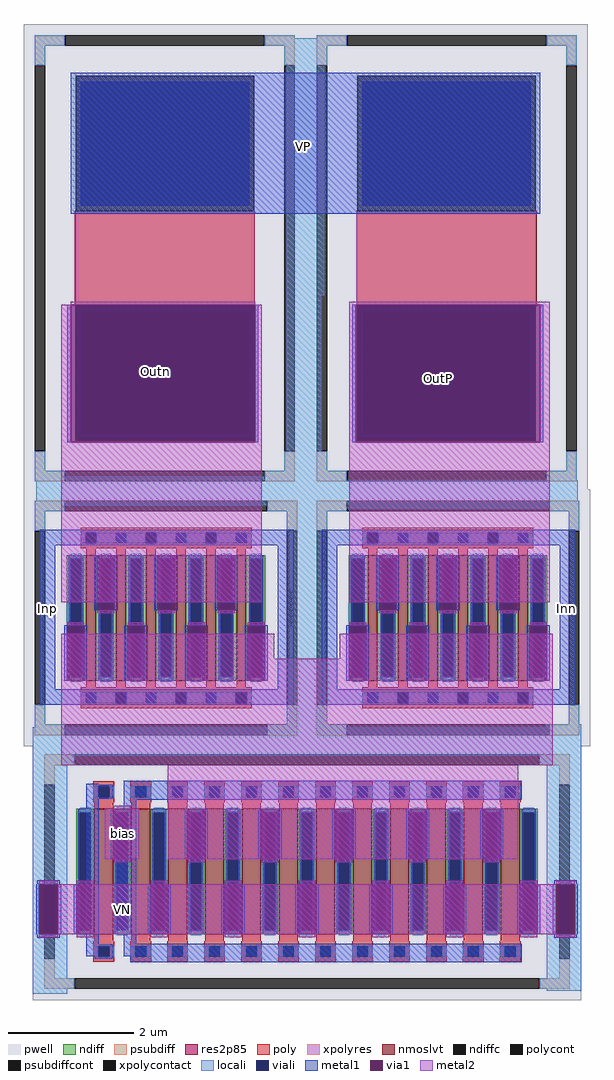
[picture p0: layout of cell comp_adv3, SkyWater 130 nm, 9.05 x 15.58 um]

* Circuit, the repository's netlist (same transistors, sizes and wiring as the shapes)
* expanding   symbol:  comp/comp_adv3.sym # of pins=7
** sym_path: /home/simon/code/particle_detector/xschem/comp/comp_adv3.sym
** sch_path: /home/simon/code/particle_detector/xschem/comp/comp_adv3.sch
.subckt comp_adv3  VP OutP OutN Inn Inp bias VN
*.ipin Inp
*.ipin bias
*.ipin Inn
*.iopin VP
*.iopin VN
*.opin OutN
*.opin OutP
XM1 OutN Inp VIq VN sky130_fd_pr__nfet_01v8_lvt L=0.15 W=2 nf=1 ad='int((nf+1)/2) * W/nf * 0.29' as='int((nf+2)/2) * W/nf * 0.29'
+ pd='2*int((nf+1)/2) * (W/nf + 0.29)' ps='2*int((nf+2)/2) * (W/nf + 0.29)' nrd='0.29 / W' nrs='0.29 / W'
+ sa=0 sb=0 sd=0 mult=6 m=6
XM2 OutP Inn VIq VN sky130_fd_pr__nfet_01v8_lvt L=0.15 W=2 nf=1 ad='int((nf+1)/2) * W/nf * 0.29' as='int((nf+2)/2) * W/nf * 0.29'
+ pd='2*int((nf+1)/2) * (W/nf + 0.29)' ps='2*int((nf+2)/2) * (W/nf + 0.29)' nrd='0.29 / W' nrs='0.29 / W'
+ sa=0 sb=0 sd=0 mult=6 m=6
XM7 bias bias VN VN sky130_fd_pr__nfet_01v8_lvt L=0.3 W=2 nf=1 ad='int((nf+1)/2) * W/nf * 0.29' as='int((nf+2)/2) * W/nf * 0.29'
+ pd='2*int((nf+1)/2) * (W/nf + 0.29)' ps='2*int((nf+2)/2) * (W/nf + 0.29)' nrd='0.29 / W' nrs='0.29 / W'
+ sa=0 sb=0 sd=0 mult=1 m=1
XM9 VIq bias VN VN sky130_fd_pr__nfet_01v8_lvt L=0.3 W=2 nf=1 ad='int((nf+1)/2) * W/nf * 0.29' as='int((nf+2)/2) * W/nf * 0.29'
+ pd='2*int((nf+1)/2) * (W/nf + 0.29)' ps='2*int((nf+2)/2) * (W/nf + 0.29)' nrd='0.29 / W' nrs='0.29 / W'
+ sa=0 sb=0 sd=0 mult=10 m=10
XR1 OutN VP VN sky130_fd_pr__res_xhigh_po_2p85 L=1.5 mult=1 m=1
XR2 OutP VP VN sky130_fd_pr__res_xhigh_po_2p85 L=1.5 mult=1 m=1
XM3 bias VN VN VN sky130_fd_pr__nfet_01v8_lvt L=0.3 W=2 nf=1 ad='int((nf+1)/2) * W/nf * 0.29' as='int((nf+2)/2) * W/nf * 0.29'
+ pd='2*int((nf+1)/2) * (W/nf + 0.29)' ps='2*int((nf+2)/2) * (W/nf + 0.29)' nrd='0.29 / W' nrs='0.29 / W'
+ sa=0 sb=0 sd=0 mult=1 m=1
.ends

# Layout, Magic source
magic
tech sky130A
magscale 1 2
<< locali >>
rect 1440 1340 1560 2160
rect 640 750 1410 760
rect 1440 750 1550 1340
rect 640 670 2370 750
rect 1450 660 2370 670
rect 1450 430 1550 660
rect 1450 400 1560 430
rect 1460 280 1560 400
rect 1450 20 1560 280
rect 1450 -40 1550 20
rect 2270 -40 2380 -30
rect 630 -130 2380 -40
rect 630 -540 740 -130
rect 630 -700 650 -540
rect 710 -700 740 -540
rect 630 -890 740 -700
rect 2270 -540 2380 -130
rect 2270 -700 2300 -540
rect 2360 -700 2380 -540
rect 2270 -880 2380 -700
<< viali >>
rect 650 -700 710 -540
rect 2300 -700 2360 -540
<< metal1 >>
rect 750 1600 2250 2050
rect 740 870 750 1310
rect 1340 870 1350 1310
rect 1650 870 1660 1310
rect 2250 870 2260 1310
rect 644 -540 716 -528
rect 640 -700 650 -540
rect 710 -700 720 -540
rect 644 -712 716 -700
rect 800 -770 840 -220
rect 920 -270 2190 -210
rect 920 -300 960 -270
rect 900 -700 960 -300
rect 2294 -540 2366 -528
rect 2290 -700 2300 -540
rect 2360 -700 2370 -540
rect 920 -730 960 -700
rect 2294 -712 2366 -700
rect 920 -770 2190 -730
rect 940 -790 2190 -770
<< via1 >>
rect 750 870 1340 1310
rect 1660 870 2250 1310
rect 650 -700 710 -540
rect 2300 -700 2360 -540
<< metal2 >>
rect 750 1310 1340 1320
rect 1640 1310 2280 1320
rect 720 870 750 1310
rect 1340 870 1360 1310
rect 720 360 1360 870
rect 1640 870 1660 1310
rect 2250 870 2280 1310
rect 1640 360 2280 870
rect 720 180 1400 260
rect 1610 180 2290 260
rect 720 -160 2290 180
rect 860 -460 970 -300
rect 1060 -460 2180 -160
rect 650 -540 710 -530
rect 2300 -540 2360 -530
rect 710 -700 2300 -540
rect 650 -710 710 -700
rect 2300 -710 2360 -700
use currm_comp  currm_comp_0
transform 1 0 710 0 1 -870
box -80 -40 1670 780
use diffamp_element_nodi  diffamp_element_nodi_0
transform 1 0 792 0 1 -308
box 708 208 1618 1028
use diffamp_element_nodi  diffamp_element_nodi_1
transform 1 0 -108 0 1 -308
box 708 208 1618 1028
use sky130_fd_pr__res_xhigh_po_2p85_8K9944  sky130_fd_pr__res_xhigh_po_2p85_8K9944_0
transform 1 0 1951 0 1 1458
box -451 -748 451 748
use sky130_fd_pr__res_xhigh_po_2p85_8K9944  sky130_fd_pr__res_xhigh_po_2p85_8K9944_1
transform 1 0 1051 0 1 1458
box -451 -748 451 748
<< labels >>
rlabel via1 970 1010 1070 1180 1 Outn
rlabel metal2 860 -460 970 -300 1 bias
rlabel metal2 860 -700 970 -540 1 VN
rlabel space 650 270 700 410 1 Inp
rlabel space 2310 270 2360 410 1 Inn
rlabel via1 1800 970 2050 1180 1 OutP
rlabel metal1 1390 1690 1600 1940 1 VP
<< end >>

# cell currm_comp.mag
magic
tech sky130A
magscale 1 2
<< metal1 >>
rect 168 410 178 570
rect 232 410 242 570
rect 404 410 414 570
rect 468 410 478 570
rect 640 410 650 570
rect 704 410 714 570
rect 876 410 886 570
rect 940 410 950 570
rect 1112 410 1122 570
rect 1176 410 1186 570
rect 1348 410 1358 570
rect 1412 410 1422 570
rect 50 170 60 330
rect 114 170 124 330
rect 286 170 296 330
rect 350 170 360 330
rect 522 170 532 330
rect 586 170 596 330
rect 758 170 768 330
rect 822 170 832 330
rect 994 170 1004 330
rect 1058 170 1068 330
rect 1230 170 1240 330
rect 1294 170 1304 330
rect 1466 170 1476 330
rect 1530 170 1540 330
<< via1 >>
rect 178 410 232 570
rect 414 410 468 570
rect 650 410 704 570
rect 886 410 940 570
rect 1122 410 1176 570
rect 1358 410 1412 570
rect 60 170 114 330
rect 296 170 350 330
rect 532 170 586 330
rect 768 170 822 330
rect 1004 170 1058 330
rect 1240 170 1294 330
rect 1476 170 1530 330
<< metal2 >>
rect 178 570 232 580
rect 178 400 232 410
rect 414 570 468 580
rect 414 400 468 410
rect 650 570 704 580
rect 650 400 704 410
rect 886 570 940 580
rect 886 400 940 410
rect 1122 570 1176 580
rect 1122 400 1176 410
rect 1358 570 1412 580
rect 1358 400 1412 410
rect 60 330 114 340
rect 60 160 114 170
rect 296 330 350 340
rect 296 160 350 170
rect 532 330 586 340
rect 532 160 586 170
rect 768 330 822 340
rect 768 160 822 170
rect 1004 330 1058 340
rect 1004 160 1058 170
rect 1240 330 1294 340
rect 1240 160 1294 170
rect 1476 330 1530 340
rect 1476 160 1530 170
use sky130_fd_pr__nfet_01v8_lvt_HR8DH9  sky130_fd_pr__nfet_01v8_lvt_HR8DH9_0
transform 1 0 795 0 1 370
box -875 -410 875 410
<< end >>

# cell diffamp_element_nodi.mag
magic
tech sky130A
magscale 1 2
<< pwell >>
rect 890 900 1436 906
rect 890 850 1480 900
rect 890 840 1436 850
rect 890 390 1436 396
rect 890 340 1474 390
rect 890 330 1436 340
<< poly >>
rect 890 890 1436 906
rect 890 856 906 890
rect 940 856 1098 890
rect 1132 856 1290 890
rect 1324 856 1436 890
rect 890 840 1436 856
rect 890 380 1436 396
rect 890 346 1002 380
rect 1036 346 1194 380
rect 1228 346 1386 380
rect 1420 346 1436 380
rect 890 330 1436 346
<< polycont >>
rect 906 856 940 890
rect 1098 856 1132 890
rect 1290 856 1324 890
rect 1002 346 1036 380
rect 1194 346 1228 380
rect 1386 346 1420 380
<< locali >>
rect 890 856 906 890
rect 940 856 1098 890
rect 1132 856 1290 890
rect 1324 856 1436 890
rect 890 346 1002 380
rect 1036 346 1194 380
rect 1228 346 1386 380
rect 1420 346 1436 380
<< viali >>
rect 906 856 940 890
rect 1098 856 1132 890
rect 1290 856 1324 890
rect 1002 346 1036 380
rect 1194 346 1228 380
rect 1386 346 1420 380
<< metal1 >>
rect 760 890 1570 900
rect 760 856 906 890
rect 940 856 1098 890
rect 1132 856 1290 890
rect 1324 856 1570 890
rect 760 850 1570 856
rect 760 390 810 850
rect 934 642 944 818
rect 998 642 1008 818
rect 1126 642 1136 818
rect 1190 642 1200 818
rect 1318 642 1328 818
rect 1382 642 1392 818
rect 838 418 848 594
rect 902 418 912 594
rect 1030 418 1040 594
rect 1094 418 1104 594
rect 1222 418 1232 594
rect 1286 418 1296 594
rect 1414 418 1424 594
rect 1478 418 1488 594
rect 1520 390 1570 850
rect 760 380 1570 390
rect 760 346 1002 380
rect 1036 346 1194 380
rect 1228 346 1386 380
rect 1420 346 1570 380
rect 760 340 1570 346
<< via1 >>
rect 944 642 998 818
rect 1136 642 1190 818
rect 1328 642 1382 818
rect 848 418 902 594
rect 1040 418 1094 594
rect 1232 418 1286 594
rect 1424 418 1478 594
<< metal2 >>
rect 944 818 998 828
rect 944 632 998 642
rect 1136 818 1190 828
rect 1136 632 1190 642
rect 1328 818 1382 828
rect 1328 632 1382 642
rect 848 594 902 604
rect 848 408 902 418
rect 1040 594 1094 604
rect 1040 408 1094 418
rect 1232 594 1286 604
rect 1232 408 1286 418
rect 1424 594 1478 604
rect 1424 408 1478 418
use sky130_fd_pr__nfet_01v8_lvt_V6SMGN  sky130_fd_pr__nfet_01v8_lvt_V6SMGN_0
transform 1 0 1163 0 1 618
box -455 -410 455 410
<< end >>

# cell sky130_fd_pr__res_xhigh_po_2p85_8K9944: kit device sky130_fd_pr__res_xhigh_po_2p85, w 2.850 l 1.5 m 1 nx 1 wmin 2.850 lmin 0.50 rho 2000 val 1.184k dummy 0 dw 0.0 term 188.2 sterm 0.0 caplen 0 wmax 2.850 guard 1 glc 1 grc 1 gtc 1 gbc 1 compatible {sky130_fd_pr__res_xhigh_po_0p35 sky130_fd_pr__res_xhigh_po_0p69 sky130_fd_pr__res_xhigh_po_1p41 sky130_fd_pr__res_xhigh_po_2p85 sky130_fd_pr__res_xhigh_po_5p73} full_metal 1 n_guard 0 hv_guard 0 vias 1 viagb 0 viagt 0 viagl 0 viagr 0

# cell sky130_fd_pr__nfet_01v8_lvt_V6SMGN: kit device sky130_fd_pr__nfet_01v8_lvt, w 2 l 0.150 m 1 nf 6 diffcov 100 polycov 100 guard 1 glc 1 grc 1 gtc 1 gbc 1 tbcov 100 rlcov 100 topc 1 botc 1 poverlap 0 doverlap 1 lmin 0.15 wmin 0.42 compatible {sky130_fd_pr__nfet_01v8 sky130_fd_pr__nfet_01v8_lvt sky130_fd_bs_flash__special_sonosfet_star sky130_fd_pr__nfet_g5v0d10v5 sky130_fd_pr__nfet_05v0_nvt sky130_fd_pr__nfet_03v3_nvt} full_metal 1 viasrc 100 viadrn 100 viagate 100 viagb 0 viagr 0 viagl 0 viagt 0

# cell sky130_fd_pr__nfet_01v8_lvt_HR8DH9: kit device sky130_fd_pr__nfet_01v8_lvt, w 2 l 0.3 m 1 nf 12 diffcov 100 polycov 100 guard 1 glc 1 grc 1 gtc 1 gbc 1 tbcov 100 rlcov 100 topc 1 botc 1 poverlap 0 doverlap 1 lmin 0.15 wmin 0.42 compatible {sky130_fd_pr__nfet_01v8 sky130_fd_pr__nfet_01v8_lvt sky130_fd_bs_flash__special_sonosfet_star sky130_fd_pr__nfet_g5v0d10v5 sky130_fd_pr__nfet_05v0_nvt sky130_fd_pr__nfet_03v3_nvt} full_metal 1 viasrc 100 viadrn 100 viagate 100 viagb 0 viagr 0 viagl 0 viagt 0
